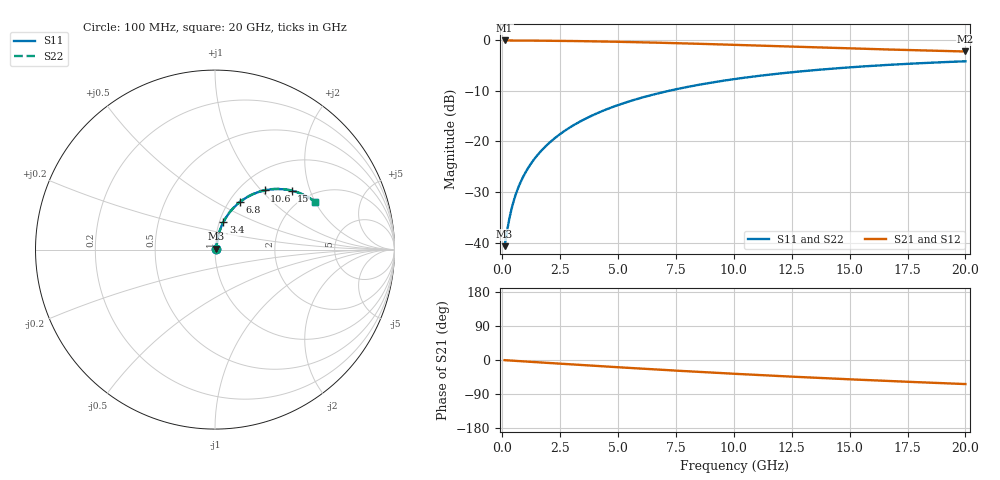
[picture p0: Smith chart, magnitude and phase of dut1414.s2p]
! Touchstone file exported from HFSS 2026.1.0
!  File:  C:/ffzhzh/LocalFiles/Ansys_Project_Files/temp_train_TMRDL_1414_1783166593_55132.aedt
!  Generated:  08:04:36 PM Jul  4, 2026
!  Design:  TMRDL
!  Project:  temp_train_TMRDL_1414_1783166593_55132
! Variables:
!  h_bsmrdl = 2um
!  h_ox = 20um
!  h_rdl = 5um
!  h_sub = 80um
!  h_tmrdl = 2.35um
!  h_tsv = 80um
!  h_via = 3um
!  l_bsmrdl = 300um
!  l_sub = 1334.7um
!  l_tmrdl = 934.7um
!  m_sub = 200um
!  pitch = 59.83um
!  r_tsv = 6um
!  s_tmrdl = 10um
!  w_bsmrdl = 18um
!  w_sub = 500um
!  w_tmrdl = 18.34um
!  x_tsv_center1 = 943.87um
!  x_tsv_center2 = 1261.87um
!  x_tsv_center3 = 2214.91um
!  x_tsv_center4 = 2532.91um
!  x_tsv_center5 = 3485.95um
!  x_tsv_center6 = 3803.95um
# GHz S MA R 50.000000
! Terminal data exported
! Port[1] = TM_RDL1_1_T1
! Port[2] = TM_RDL1_1_T2
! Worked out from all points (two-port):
!   200 points, 100 MHz to 20 GHz, reference 50 ohm
!   highest |S21| = -0.07 dB at 100 MHz (marker M1); lowest = -2.2 dB at 20 GHz (marker M2)
!   |S21| within 3 dB of the highest: start of sweep to end of sweep
!   lowest |S11| = -40.7 dB at 100 MHz (marker M3), VSWR 1.02, Z = 50.8 + j0.511 ohm
!   |S11| at or under -10 dB: start of sweep to 7.201 GHz
!   |S22| runs from -40.7 to -4.2 dB; largest |S21 - S12| = 5e-15
!   S11 on the Smith chart (normalised r, x): 100 MHz: 1.02, +0.01; 3.4 GHz: 1.04, +0.33; 6.8 GHz: 1.12, +0.66; 10.6 GHz: 1.29, +1.04; 15 GHz: 1.63, +1.51; 20 GHz: 2.35, +2.00
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0.1  0.009276 32.8  0.9922 -0.4  0.9922 -0.4  0.009276 32.8
! Gamma 0 0 0 0
! Port Impedance 50 0 50 0
0.2  0.01284 51.3  0.9921 -0.8  0.9921 -0.8  0.01284 51.3
0.3  0.01714 60.7  0.9918 -1.2  0.9918 -1.2  0.01714 60.7
0.4  0.02168 65.9  0.9915 -1.6  0.9915 -1.6  0.02168 65.9
0.5  0.02629 69.1  0.9912 -2.0  0.9912 -2.0  0.02629 69.1
0.6  0.03092 71.2  0.9909 -2.4  0.9909 -2.4  0.03092 71.2
0.8  0.04018 73.8  0.9902 -3.2  0.9902 -3.2  0.04018 73.8
1.1  0.05404 75.6  0.9892 -4.3  0.9892 -4.3  0.05404 75.6
1.6  0.07714 76.4  0.9873 -6.3  0.9873 -6.3  0.07714 76.5
2.1  0.1002 76.1  0.985 -8.2  0.985 -8.2  0.1002 76.1
2.7  0.1276 74.9  0.9817 -10.5  0.9817 -10.5  0.1276 75.0
3.4  0.1592 73.1  0.9769 -13.1  0.9769 -13.1  0.1592 73.1
3.5  0.1637 72.8  0.9761 -13.5  0.9761 -13.5  0.1636 72.8
5  0.2287 68.1  0.9627 -19.1  0.9627 -19.1  0.2287 68.2
6.8  0.3011 62.2  0.9422 -25.6  0.9422 -25.6  0.301 62.3
8.3  0.356 57.3  0.9226 -30.7  0.9226 -30.7  0.3559 57.4
10.1  0.4149 51.6  0.8974 -36.6  0.8974 -36.6  0.4149 51.8
10.6  0.4299 50.1  0.8902 -38.2  0.8902 -38.2  0.4299 50.2
13.4  0.5038 41.9  0.8506 -46.5  0.8506 -46.5  0.5037 42.1
15  0.5385 37.5  0.8291 -51.0  0.8291 -51.0  0.5385 37.8
16.7  0.5702 33.1  0.8079 -55.4  0.8079 -55.4  0.5702 33.4
20  0.6183 25.2  0.7724 -63.5  0.7724 -63.5  0.6182 25.5
